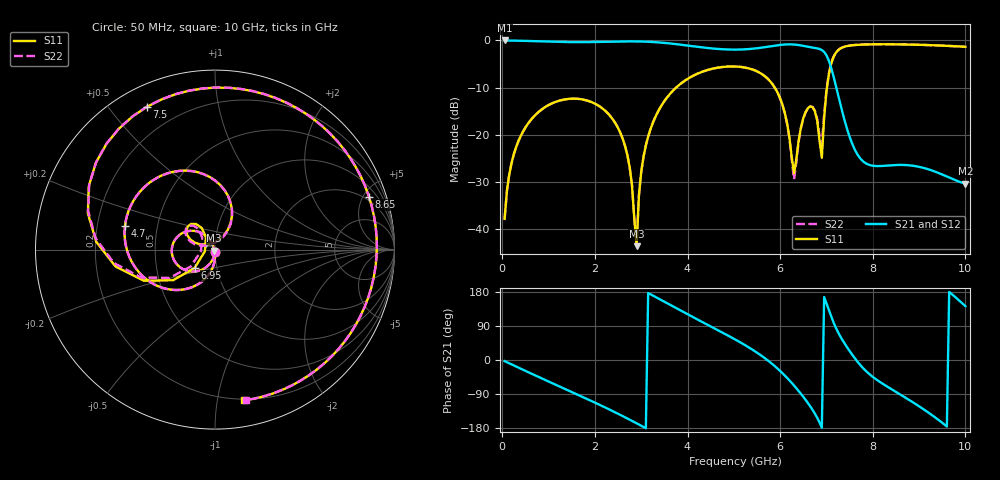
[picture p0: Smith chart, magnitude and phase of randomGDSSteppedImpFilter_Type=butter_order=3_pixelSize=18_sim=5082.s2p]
! freq	dB(S11)	phase(S11)	dB(S12)	phase(S12)
!  dB(S21)	phase(S21)	dB(S22)	phase(S22)
!S-par simulation data
#  GHz  S  DB  R 50
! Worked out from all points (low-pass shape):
!   200 points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, 50 MHz to 10 GHz, reference 50 ohm
!   highest |S21| = -0.01 dB at 50 MHz (marker M1); lowest = -30.4 dB at 10 GHz (marker M2)
!   |S21| within 3 dB of the highest: start of sweep to 6.99 GHz
!   lowest |S11| = -43.7 dB at 2.9 GHz (marker M3), VSWR 1.01, Z = 49.6 - j0.509 ohm
!   |S11| at or under -10 dB: start of sweep to 3.755 GHz; 5.882 GHz to 7.011 GHz (1.129 GHz wide, 17.5 % of centre)
!   |S22| runs from -43.4 to -0.8 dB; largest |S21 - S12| = 0
!   S11 on the Smith chart (normalised r, x): 50 MHz: 1.00, -0.03; 4.7 GHz: 0.32, +0.11; 6.95 GHz: 0.78, -0.16; 7.5 GHz: 0.09, +0.63; 8.65 GHz: 1.68, +5.54; 10 GHz: 0.19, -1.19
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0.05  -37.88 -92.4  -0.01 -2.9  -0.01 -2.9  -37.88 -92.4
0.2  -26.02 -101.8  -0.03 -11.6  -0.03 -11.6  -26.02 -101.7
0.5  -18.47 -119.2  -0.10 -28.7  -0.10 -28.7  -18.47 -119.2
1.75  -12.57 171.2  -0.36 -98.3  -0.36 -98.3  -12.57 171.3
2.6  -20.87 123.1  -0.22 -148.0  -0.22 -148.0  -20.87 123.3
2.75  -26.88 116.1  -0.21 -157.4  -0.21 -157.4  -26.87 116.5
2.9  -43.68 -128.4  -0.22 -167.0  -0.22 -167.0  -43.42 -129.6
3.05  -24.67 -91.4  -0.25 -176.7  -0.25 -176.7  -24.67 -91.5
3.4  -14.44 -111.8  -0.44 160.2  -0.44 160.2  -14.44 -111.8
4.7  -5.71 165.5  -1.84 75.9  -1.84 75.9  -5.71 165.6
5.05  -5.54 142.8  -1.95 52.7  -1.95 52.7  -5.54 143.0
5.95  -11.20 71.6  -1.02 -23.3  -1.02 -23.3  -11.21 71.5
6.3  -28.22 108.6  -0.87 -67.4  -0.87 -67.4  -29.46 109.4
6.7  -14.17 133.2  -1.52 -131.6  -1.52 -131.6  -14.13 137.6
6.9  -24.90 -171.0  -2.03 -178.5  -2.03 -178.5  -22.11 -174.5
6.95  -16.38 -138.0  -2.44 166.1  -2.44 166.1  -15.69 -145.1
7.2  -2.66 164.1  -9.51 85.8  -9.51 85.8  -2.62 163.0
7.5  -1.10 115.6  -20.46 23.7  -20.46 23.7  -1.09 115.4
8.35  -0.81 41.0  -26.53 -73.0  -26.53 -73.0  -0.81 41.4
8.65  -0.85 18.8  -26.43 -95.2  -26.43 -95.2  -0.84 19.4
9.25  -1.00 -24.5  -27.51 -143.0  -27.51 -143.0  -1.00 -23.9
10  -1.35 -79.2  -30.42 142.2  -30.42 142.2  -1.35 -78.5
